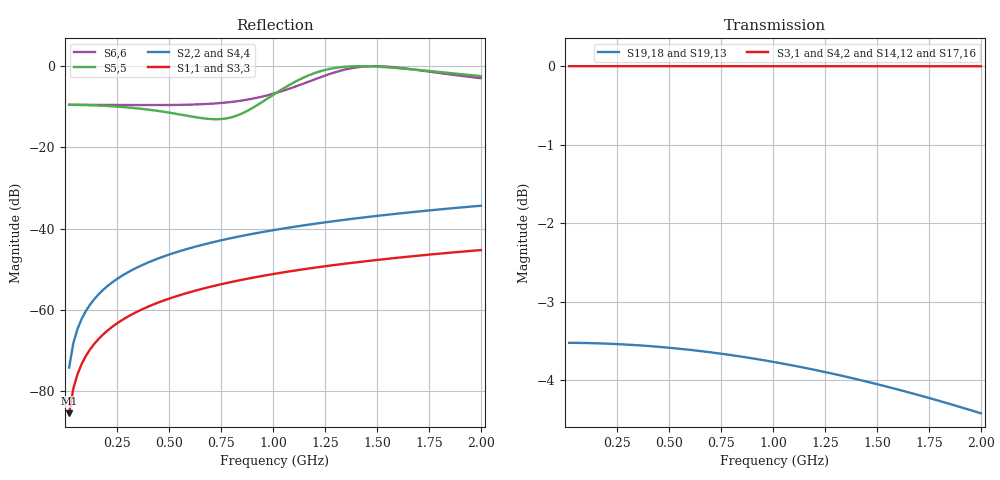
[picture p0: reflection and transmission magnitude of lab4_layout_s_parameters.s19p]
! Created Mon Apr  8 00:03:12 2024
! List of port names and net name(s): example Port n = <port_name> <net_name1> <net_name2> ...
! Port 1 = P4 P4
! Port 2 = P5 P5
! Port 3 = P6 P4
! Port 4 = P7 P5
! Port 5 = P8 P13
! Port 6 = P9 P18
! Port 7 = P10 P10
! Port 8 = P11 P11
! Port 9 = P12 P18
! Port 10 = P13 P13
! Port 11 = P14 P13
! Port 12 = P15 P17
! Port 13 = P16 P22
! Port 14 = P17 P17
! Port 15 = P18 P18
! Port 16 = P20 P20
! Port 17 = P21 P21
! Port 18 = P22 P22
! Port 19 = P19 P22
! 19 Port Network Data from data block
! freq  magS1_1  angS1_1  magS1_2  angS1_2  magS1_3  angS1_3  magS1_4  angS1_4
!  magS1_5  angS1_5  magS1_6  angS1_6  magS1_7  angS1_7  magS1_8  angS1_8
!  magS1_9  angS1_9  magS1_10  angS1_10  magS1_11  angS1_11  magS1_12  angS1_12
!  magS1_13  angS1_13  magS1_14  angS1_14  magS1_15  angS1_15  magS1_16  angS1_16
!  magS1_17  angS1_17  magS1_18  angS1_18  magS1_19  angS1_19
!  magS2_1  angS2_1
!  magS2_2  angS2_2  magS2_3  angS2_3  magS2_4  angS2_4  magS2_5  angS2_5
!  magS2_6  angS2_6  magS2_7  angS2_7  magS2_8  angS2_8  magS2_9  angS2_9
!  magS2_10  angS2_10  magS2_11  angS2_11  magS2_12  angS2_12  magS2_13  angS2_13
!  magS2_14  angS2_14  magS2_15  angS2_15  magS2_16  angS2_16  magS2_17  angS2_17
!  magS2_18  angS2_18  magS2_19  angS2_19
!  magS3_1  angS3_1  magS3_2  angS3_2
!  magS3_3  angS3_3  magS3_4  angS3_4  magS3_5  angS3_5  magS3_6  angS3_6
!  magS3_7  angS3_7  magS3_8  angS3_8  magS3_9  angS3_9  magS3_10  angS3_10
!  magS3_11  angS3_11  magS3_12  angS3_12  magS3_13  angS3_13  magS3_14  angS3_14
!  magS3_15  angS3_15  magS3_16  angS3_16  magS3_17  angS3_17  magS3_18  angS3_18
!  magS3_19  angS3_19
!  magS4_1  angS4_1  magS4_2  angS4_2  magS4_3  angS4_3
!  magS4_4  angS4_4  magS4_5  angS4_5  magS4_6  angS4_6  magS4_7  angS4_7
!  magS4_8  angS4_8  magS4_9  angS4_9  magS4_10  angS4_10  magS4_11  angS4_11
!  magS4_12  angS4_12  magS4_13  angS4_13  magS4_14  angS4_14  magS4_15  angS4_15
!  magS4_16  angS4_16  magS4_17  angS4_17  magS4_18  angS4_18  magS4_19  angS4_19
!  magS5_1  angS5_1  magS5_2  angS5_2  magS5_3  angS5_3  magS5_4  angS5_4
!  magS5_5  angS5_5  magS5_6  angS5_6  magS5_7  angS5_7  magS5_8  angS5_8
!  magS5_9  angS5_9  magS5_10  angS5_10  magS5_11  angS5_11  magS5_12  angS5_12
!  magS5_13  angS5_13  magS5_14  angS5_14  magS5_15  angS5_15  magS5_16  angS5_16
!  magS5_17  angS5_17  magS5_18  angS5_18  magS5_19  angS5_19
!  magS6_1  angS6_1
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# hz S ma R 50
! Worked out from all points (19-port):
!   99 points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, 20.2 MHz to 2 GHz, reference 50 ohm
!   strongest paths, dB at 20.2 MHz, 505.1 MHz, 1.01 GHz, 1.515 GHz, 2 GHz:
!     S3,1: 0.0, 0.0, 0.0, 0.0, 0.0
!     S4,2: 0.0, 0.0, 0.0, 0.0, 0.0
!     S14,12: 0.0, 0.0, 0.0, 0.0, -0.1
!     S17,16: 0.0, 0.0, 0.0, 0.0, -0.1
!     S19,18: -3.5, -3.6, -3.8, -4.1, -4.4
!     S19,13: -3.5, -3.6, -3.8, -4.1, -4.4
!   lowest |S11| = -85.4 dB at 20.2 MHz (marker M1), VSWR 1.00, Z = 50 + j0.00534 ohm
!   |S11| at or under -10 dB: start of sweep to end of sweep
